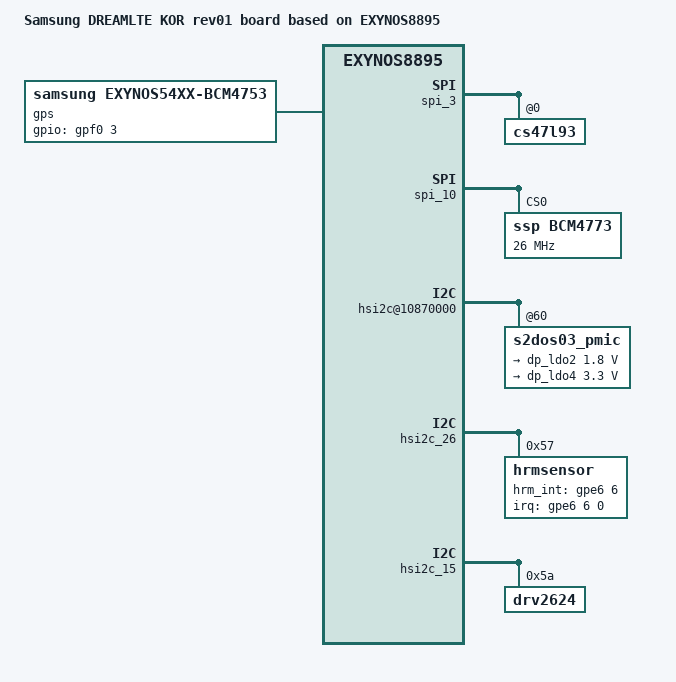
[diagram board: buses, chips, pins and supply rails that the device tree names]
/*
 * SAMSUNG EXYNOS8895 board device tree source
 *
 * Copyright (c) 2016 Samsung Electronics Co., Ltd.
 *		http://www.samsung.com
 *
 * This program is free software; you can redistribute it and/or modify
 * it under the terms of the GNU General Public License version 2 as
 * published by the Free Software Foundation.
*/

/dts-v1/;
#include "exynos8895-dreamlte_common.dtsi"
#include "battery_data_dreamlte_common.dtsi"
#include "exynos8895-dream2lte_motor_drv2624.dtsi"
#include "exynos8895-dreamlte_svcled.dtsi"
#include "ccic-s2mm005_01.dtsi"
#include "exynos8895-dreamlte_mst_00.dtsi"
#include "exynos8895-dreamlte_gpio_kor_05.dtsi"
#include "exynos8895-dreamlte_kor-tdmb-00.dtsi"

/ {
	model = "Samsung DREAMLTE KOR rev01 board based on EXYNOS8895";
	model_info-chip = <8895>;
	model_info-platform = "android";
	model_info-subtype = "samsung";
	model_info-hw_rev = <5>;
	model_info-hw_rev_end = <6>;
	compatible = "samsung, DREAMLTE KOR rev01", "samsung,EXYNOS8895";

	spi_3: spi@10460000 {
		status = "okay";
		cs47l93: cs47l93@0 {
			cirrus,gpio-defaults = <
				0xffffffff 0xffffffff /* GPIO1 */
				0xffffffff 0xffffffff /* GPIO2 */
				0x00002001 0x00009000 /* SPKCLK1 /   GPIO3 */
				0x00002001 0x00009000 /* SPKDAT /    GPIO4 */
				0x00002000 0x00006000 /* AIF1TXDAT / GPIO5 */
				0x00002000 0x00006000 /* AIF1BCLK /  GPIO6 */
				0x00002000 0x00006000 /* AIF1RXDAT / GPIO7 */
				0x00002000 0x00006000 /* AIF1LRCLK / GPIO8 */
				0x00002001 0x00009000 /* AIF2TXDAT / GPIO9 */
				0x00002001 0x00009000 /* AIF2BCLK /  GPIO10 */
				0x00002001 0x00009000 /* AIF2RXDAT / GPIO11 */
				0x00002000 0x00006000 /* AIF2LRCLK / GPIO12 */
				0x00002000 0x00006000 /* AIF3TXDAT / GPIO13 */
				0x00002000 0x00006000 /* AIF3BCLK /  GPIO14 */
				0x00002000 0x00006000 /* AIF3RXDAT / GPIO15 */
				0x00002000 0x00006000 /* AIF3LRCLK / GPIO16 */
			>;
		};
	};

	spi_10: spi@108C0000{
		#address-cells = <1>;
		#size-cells = <0>;
	
		pinctrl-names = "default";
		pinctrl-0 = <&spi1_mosi_sck_ssn &spi1_miso>;

		num-cs = <1>;
		status = "okay";
/*
		dma-mode;
		dmas = <&pdma0 21 0
			&pdma0 20 0>;
*/
		BCM4773@0 {
			compatible = "ssp,BCM4773";
			reg = <0>;
			spi-max-frequency = <26000000>;
			spi-cpol;
			spi-cpha;
			pinctrl-names = "default";
			pinctrl-0 = <&ssp_host_req &ssp_mcu_req &ssp_mcu_resp &ssp_batch_wake_irq>;
		
			gpio-controller;
			#gpio-cells = <2>;
			ssp-host-req = <&gpa3 4 0x00>;
			ssp-mcu-req = <&gpe6 1 0x00>;
			ssp-mcu-resp = <&gpi1 5 0x00>;
			ssp-batch-wake-irq = <&gpa2 5 0x00>;
			ssp-acc-position = <0>;
			ssp-mag-position = <6>;
			ssp-sns-combination = <0>;
			ssp-ap-rev = <1>;
			ssp-mag-array = /bits/ 8 <151 87 242 214 213 124 0 247 212 55 194 75 52 226 255 131 0 241 29 62 191 1 97 111 9 47 220>;
			ssp-glass-type = <0>;
			ssp-mag-type = <1>;

			controller-data {
				cs-gpio = <&gpe2 6 0>;
				samsung,spi-feedback-delay = <0>;
			};
		};
	};

	sound {
		status = "okay";
		auxpdm-gpio;
	};

	gps {
		compatible = "samsung,exynos54xx-bcm4753";

		pinctrl-names = "hub_en";
		pinctrl-0 = <&ssp_gps_pwr_en>;

		gpios = <&gpf0 3 0x0>;
		status = "okay";
	};

	hsi2c_9: hsi2c@10480000 {
		sx9320-i2c@22 {
			status = "disabled";
		};
	};

	dwmmc2@11500000 {
		card-detect-invert;
	};

	speedy@15B50000{
		status = "okay";
		s2mps17mfd@00 {
			regulators {
                                ldo31_reg: LDO31 {
					regulator-name = "VDD_2P6_MUX";
					regulator-min-microvolt = <2600000>;
					regulator-max-microvolt = <2600000>;
					regulator-always-on;
					regulator-initial-mode = <3>;
				};
				ldo34_reg: LDO34 {
					regulator-name = "tsp_io";
					regulator-min-microvolt = <1850000>;
					regulator-max-microvolt = <1850000>;
					regulator-boot-on;
				};
				ldo35_reg: LDO35 {
					regulator-name = "tsp_avdd";
					regulator-min-microvolt = <3000000>;
					regulator-max-microvolt = <3000000>;
					regulator-boot-on;
				};
			};
		};
	};

	pinctrl@164B0000 {
		dp_irq: dp_irq {
			samsung,pins = "gpa3-1";
			samsung,pin-function = <3>;
			samsung,pin-pud = <0>;
		};
	};

	displayport: displayport@0x11090000 {
		dp,aux_sw_oe = <&gpi1 3 0>;
		dp,sbu_sw_sel = <&gpe7 5 0>;
		dp,usb_con_sel = <&gpi1 7 0>;
		dp,aux_vdd = "VDD_DP_3P3";
		dp,hpd_gpio_irq;

		pinctrl-names = "default";
		pinctrl-0 = <&dp_irq>;
	};

	hsi2c@10870000 {
		status = "okay";
		s2dos03_pmic@60 {
			regulators {
				dp_ldo2: s2dos03-ldo2 {
					regulator-name = "HRM_1.8V_AP";
					regulator-min-microvolt = <1800000>;
					regulator-max-microvolt = <1800000>;
				};
				dp_ldo4: s2dos03-ldo4 {
					regulator-name = "HRM_3.3V_AP";
					regulator-min-microvolt = <3300000>;
					regulator-max-microvolt = <3300000>;
				};
			};
		};
	};

	hsi2c_26: hsi2c@10910000 {
		status = "okay";
		hrmsensor@57 {
			compatible = "hrmsensor";
			reg = <0x57>;
			interrupt-parent = <&gpe6>;
			interrupts = <6 0 0>;
			pinctrl-names = "default", "sleep", "idle";
			pinctrl-0 = <&hrm_irq>;
			pinctrl-1 = <&hrm_irqsleep>;
			pinctrl-2 = <&hrm_irqidle>;
			hrmsensor,hrm_int-gpio = <&gpe6 6 0>;
			hrmsensor,vdd_1p8 = "HRM_1.8V_AP";
			hrmsensor,led_3p3 = "HRM_3.3V_AP";
			hrmsensor,i2c_1p8 = "VDD_NFC_1P8";
		};
	};

	/* HSI2C_USI5_0 */
	hsi2c_15: hsi2c@10860000 {
		status = "okay";

		drv2624@5A {
			compatible = "drv2624";
			reg = <0x5A>;
			status = "okay";

			motor_mode = <&gpf1 6 0>;
			motor_rst_n = <&gpe7 4 0>;
			//pinctrl-0 = <&motor_mode &motor_rst_n>;
		};
	};
};
